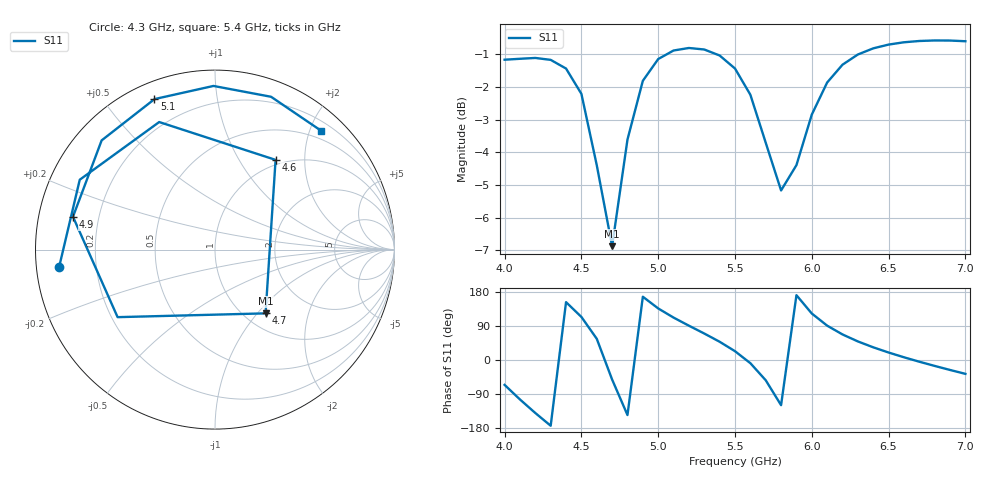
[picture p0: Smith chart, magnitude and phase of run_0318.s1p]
! Touchstone file exported from HFSS 2024.2.0
!  File:  C:/Users/wsak9/Desktop/Sim Fast/Widenad Patch/WP_AI_V1_sweep.aedt
!  Generated:  04:27:37 AM Oct 14, 2026
!  Design:  A1_model
!  Project:  WP_AI_V1_sweep
!  Setup:  Setup1
!  Solution:  Sweep
! Variables:
!  Air_gap = 3.2mm
!  Curve_Amp1 = 3.57
!  Curve_len1 = 1
!  Curve_pos = 12.595mm
!  Extra = 2.2mm
!  H_sub = 0.79mm
!  L_Patch = 21.19mm
!  L_Patch1 = 11.23mm
!  Sx = 2.73mm
!  Sy = 0.78mm
!  WS = 1.34mm
!  W_Patch = 12.83mm
!  W_Patch1 = 9.03mm
!Data is not renormalized
# GHz S MA
! Terminal data exported
! Port[1] = 1
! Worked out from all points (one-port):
!   31 points, 4 GHz to 7 GHz, reference per port
!   lowest |S11| = -6.9 dB at 4.7 GHz (marker M1), VSWR 2.66
!   |S11| at or under -10 dB: nowhere
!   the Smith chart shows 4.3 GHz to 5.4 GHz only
!   S11 on the Smith chart (normalised r, x): 4.3 GHz: 0.07, -0.06; 4.6 GHz: 0.92, +1.45; 4.7 GHz: 1.24, -1.11; 4.9 GHz: 0.10, +0.11; 5.1 GHz: 0.07, +0.67; 5.4 GHz: 0.35, +2.19
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4  0.8749 -65.7
4.1  0.8778 -104.2
4.2  0.8804 -139.9
4.3  0.8744 -173.5
4.4  0.8481 152.7
4.5  0.7757 113.6
4.6  0.6032 56.0
4.7  0.4534 -51.6
4.8  0.6604 -145.3
4.9  0.8122 167.0
5  0.877 136.1
5.1  0.9038 111.9
5.2  0.9119 90.5
5.3  0.907 69.8
5.4  0.888 48.1
5.5  0.8482 23.2
5.6  0.7733 -8.4
5.7  0.653 -53.4
5.8  0.5518 -119.2
5.9  0.6033 171.1
6  0.721 122.7
6.1  0.8073 90.7
6.2  0.8597 67.4
6.3  0.8912 49.0
6.4  0.9106 33.5
6.5  0.9229 19.7
6.7  0.9346 -4.5
7  0.9338 -36.6
